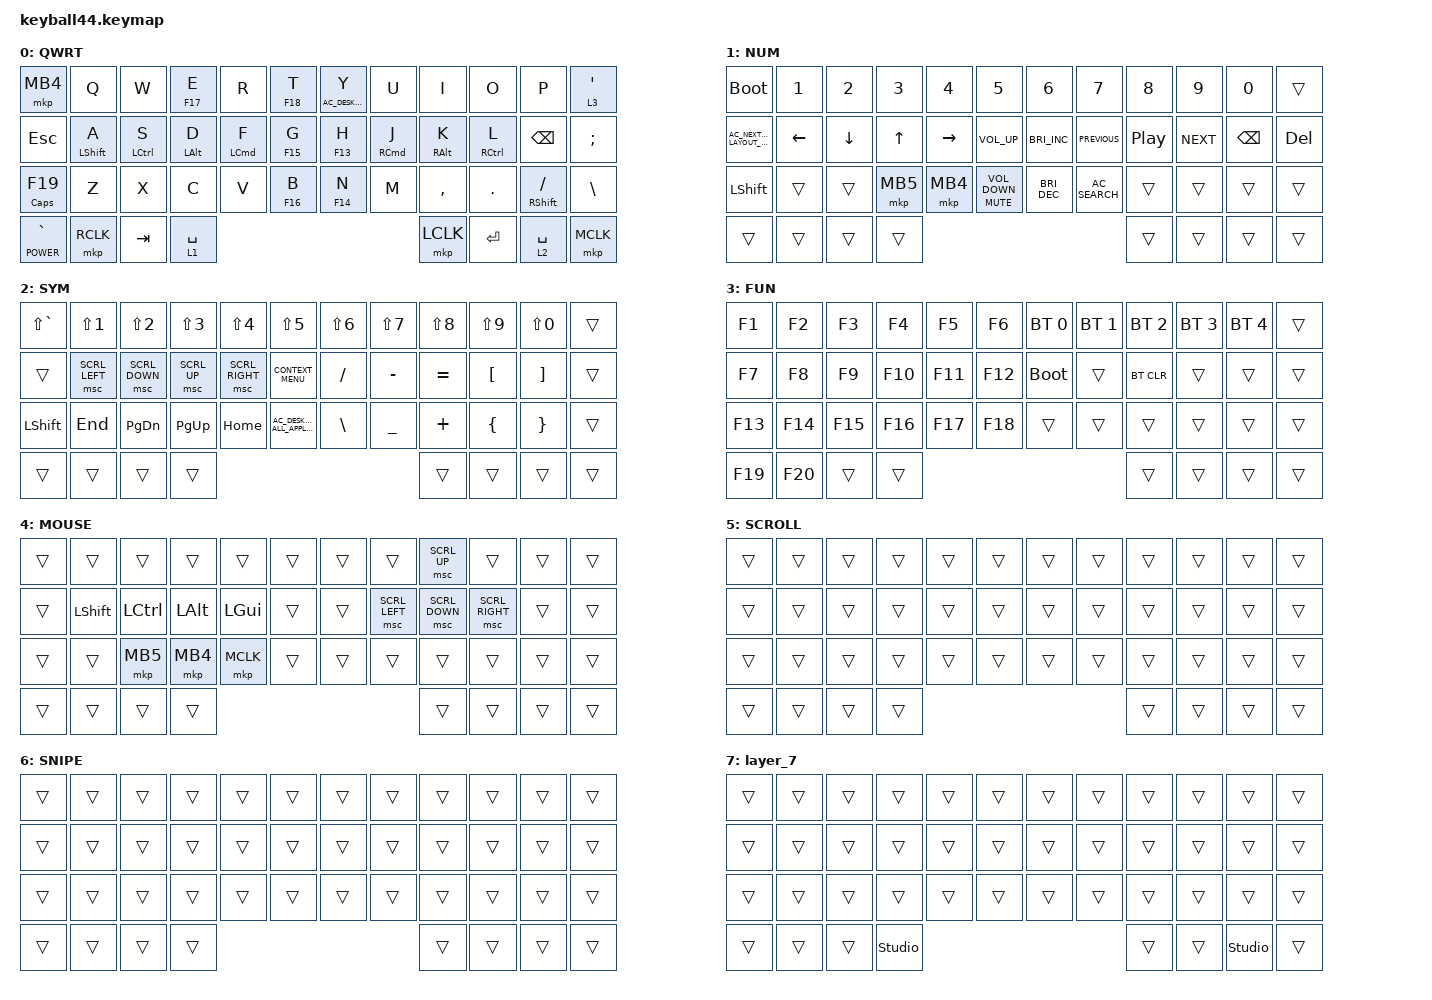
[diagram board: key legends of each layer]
#define DEFAULT 0
#define NUM     1
#define SYM     2
#define FUN     3
#define MOUSE   4
#define SCROLL  5
#define SNIPE   6

#include <behaviors/mouse_keys.dtsi>
#include <dt-bindings/zmk/mouse.h>
#include <behaviors.dtsi>
#include <dt-bindings/zmk/bt.h>
#include <dt-bindings/zmk/keys.h>
#include <dt-bindings/zmk/pointing.h>

&lt {
    tapping-term-ms = <240>;
    flavor = "balanced";
    quick-tap-ms = <150>;
};

&mt {
    tapping-term-ms = <200>;
    flavor = "tap-preferred";
    quick-tap-ms = <150>;
};

&caps_word { continue-list = <UNDERSCORE MINUS>; };

/ {
    // custom shift using mod-morph 

    behaviors {
        cmqus: comma_question {
            compatible = "zmk,behavior-mod-morph";
            label = "COMMA_QUESTION";
            #binding-cells = <0>;
            bindings = <&kp COMMA>, <&kp QUESTION>;

            mods = <(MOD_LSFT|MOD_RSFT)>;
        };

        dtsmi: dot_semi {
            compatible = "zmk,behavior-mod-morph";
            label = "DOT_SEMI";
            #binding-cells = <0>;
            bindings = <&kp DOT>, <&kp SEMI>;

            mods = <(MOD_LSFT|MOD_RSFT)>;
        };
    };

    keymap {
        compatible = "zmk,keymap";

        default_layer {
            label = "QWRT";

            // -----------------------------------------------------------------------------------------
            // |  TAB |  Q  |  W  |  E  |  R  |  T  |   |  Y  |  U   |  I  |  O  |  P  | BKSP |
            // | CTRL |  A  |  S  |  D  |  F  |  G  |   |  H  |  J   |  K  |  L  |  ;  |  '   |
            // | SHFT |  Z  |  X  |  C  |  V  |  B  |   |  N  |  M   |  ,  |  .  |  /  | ESC  |
            //                    | GUI | LWR | SPC |   | ENT | RSE  | ALT |

            bindings = <
&mkp MB4           &kp Q             &kp W               &mt F17 E       &kp R               &mt F18 T                 &mt C_AC_DESKTOP_SHOW_ALL_WINDOWS Y  &kp U                &kp I            &kp O                &kp P                  &lt 3 SINGLE_QUOTE
&kp ESC            &mt LEFT_SHIFT A  &mt LEFT_CONTROL S  &mt LEFT_ALT D  &mt LEFT_COMMAND F  &mt F15 G                 &mt F13 H                            &mt RIGHT_COMMAND J  &mt RIGHT_ALT K  &mt RIGHT_CONTROL L  &kp BACKSPACE          &kp SEMICOLON
&mt CAPS F19       &kp Z             &kp X               &kp C           &kp V               &mt F16 B                 &mt F14 N                            &kp M                &kp COMMA        &kp DOT              &mt RIGHT_SHIFT SLASH  &kp BACKSLASH
&mt C_POWER GRAVE  &mkp RCLK         &kp TAB             &lt 1 SPACE     &mkp LCLK                          &kp ENTER  &lt 2 SPACE                                                                                                            &mkp MCLK
            >;
        };

        number_layer {
            label = "NUM";

            // -----------------------------------------------------------------------------------------
            // |  TAB |  !  |  @  |  #  |  $  |  %  |   |  ^  |  &  |  *  |  (  |  )  | BKSP |
            // | CTRL |     |     |     |     |     |   |  -  |  =  |  [  |  ]  |  \  |  `   |
            // | SHFT |     |     |     |     |     |   |  _  |  +  |  {  |  }  | "|" |  ~   |
            //                    | GUI |     | SPC |   | ENT |     | ALT |

            bindings = <
&bootloader                           &kp N1    &kp N2          &kp N3        &kp N4           &kp N5                                &kp N6                &kp N7           &kp N8    &kp N9      &kp N0         &trans
&kp C_AC_NEXT_KEYBOARD_LAYOUT_SELECT  &kp LEFT  &kp DOWN_ARROW  &kp UP_ARROW  &kp RIGHT_ARROW  &kp C_VOLUME_UP                       &kp C_BRIGHTNESS_INC  &kp C_PREVIOUS   &kp C_PP  &kp C_NEXT  &kp BACKSPACE  &kp DELETE
&kp LEFT_SHIFT                        &trans    &trans          &mkp MB5      &mkp MB4         &mt C_MUTE C_VOLUME_DOWN              &kp C_BRIGHTNESS_DEC  &kp C_AC_SEARCH  &trans    &trans      &trans         &trans
&trans                                &trans    &trans          &trans        &trans                                         &trans  &trans                                                                      &trans
            >;
        };

        symbol_layer {
            label = "SYM";

            // -----------------------------------------------------------------------------------------
            // |  TAB |  1  |  2  |  3  |  4  |  5  |   |  6  |  7  |  8  |  9  |  0  | BKSP |
            // | BTCLR| BT1 | BT2 | BT3 | BT4 | BT5 |   | LFT | DWN |  UP | RGT |     |      |
            // | SHFT |     |     |     |     |     |   |     |     |     |     |     |      |
            //                    | GUI |     | SPC |   | ENT |     | ALT |

            bindings = <
&kp LS(GRAVE)  &kp LS(N1)      &kp LS(N2)      &kp LS(N3)    &kp LS(N4)       &kp LS(N5)                                          &kp LS(N6)  &kp LS(N7)  &kp LS(N8)  &kp LS(N9)        &kp LS(N0)         &trans
&trans         &msc SCRL_LEFT  &msc SCRL_DOWN  &msc SCRL_UP  &msc SCRL_RIGHT  &kp K_CONTEXT_MENU                                  &kp FSLH    &kp MINUS   &kp EQUAL   &kp LEFT_BRACKET  &kp RIGHT_BRACKET  &trans
&kp LSHFT      &kp END         &kp PAGE_DOWN   &kp PAGE_UP   &kp HOME         &kp C_AC_DESKTOP_SHOW_ALL_APPLICATIONS              &kp BSLH    &kp UNDER   &kp PLUS    &kp LEFT_BRACE    &kp RIGHT_BRACE    &trans
&trans         &trans          &trans          &trans        &trans                                                       &trans  &trans                                                                   &trans
            >;
        };

        function_layer {
            label = "FUN";
            bindings = <
&kp F1   &kp F2   &kp F3   &kp F4   &kp F5   &kp F6               &bt BT_SEL 0  &bt BT_SEL 1  &bt BT_SEL 2  &bt BT_SEL 3  &bt BT_SEL 4  &trans
&kp F7   &kp F8   &kp F9   &kp F10  &kp F11  &kp F12              &bootloader   &trans        &bt BT_CLR    &trans        &trans        &trans
&kp F13  &kp F14  &kp F15  &kp F16  &kp F17  &kp F18              &trans        &trans        &trans        &trans        &trans        &trans
&kp F19  &kp F20  &trans   &trans   &trans                &trans  &trans                                                                &trans
            >;
        };

        mouse_layer {
            label = "MOUSE";
            bindings = <
&trans  &trans     &trans     &trans    &trans     &trans              &trans  &trans          &msc SCRL_UP    &trans           &trans  &trans
&trans  &kp LSHFT  &kp LCTRL  &kp LALT  &kp LGUI   &trans              &trans  &msc SCRL_LEFT  &msc SCRL_DOWN  &msc SCRL_RIGHT  &trans  &trans
&trans  &trans     &mkp MB5   &mkp MB4  &mkp MCLK  &trans              &trans  &trans          &trans          &trans           &trans  &trans
&trans  &trans     &trans     &trans    &trans                 &trans  &trans                                                           &trans
            >;
        };

        scroll_layer {
            label = "SCROLL";
            bindings = <
&trans  &trans  &trans  &trans  &trans  &trans              &trans  &trans  &trans  &trans  &trans  &trans
&trans  &trans  &trans  &trans  &trans  &trans              &trans  &trans  &trans  &trans  &trans  &trans
&trans  &trans  &trans  &trans  &trans  &trans              &trans  &trans  &trans  &trans  &trans  &trans
&trans  &trans  &trans  &trans  &trans              &trans  &trans                                  &trans
            >;
        };

        snipe_layer {
            label = "SNIPE";
            bindings = <
&trans  &trans  &trans  &trans  &trans  &trans              &trans  &trans  &trans  &trans  &trans  &trans
&trans  &trans  &trans  &trans  &trans  &trans              &trans  &trans  &trans  &trans  &trans  &trans
&trans  &trans  &trans  &trans  &trans  &trans              &trans  &trans  &trans  &trans  &trans  &trans
&trans  &trans  &trans  &trans  &trans              &trans  &trans                                  &trans
            >;
        };

        layer_7 {
            bindings = <
&trans  &trans  &trans  &trans          &trans  &trans              &trans          &trans  &trans  &trans  &trans  &trans
&trans  &trans  &trans  &trans          &trans  &trans              &trans          &trans  &trans  &trans  &trans  &trans
&trans  &trans  &trans  &trans          &trans  &trans              &trans          &trans  &trans  &trans  &trans  &trans
&trans  &trans  &trans  &studio_unlock  &trans              &trans  &studio_unlock                                  &trans
            >;
        };
    };
};
